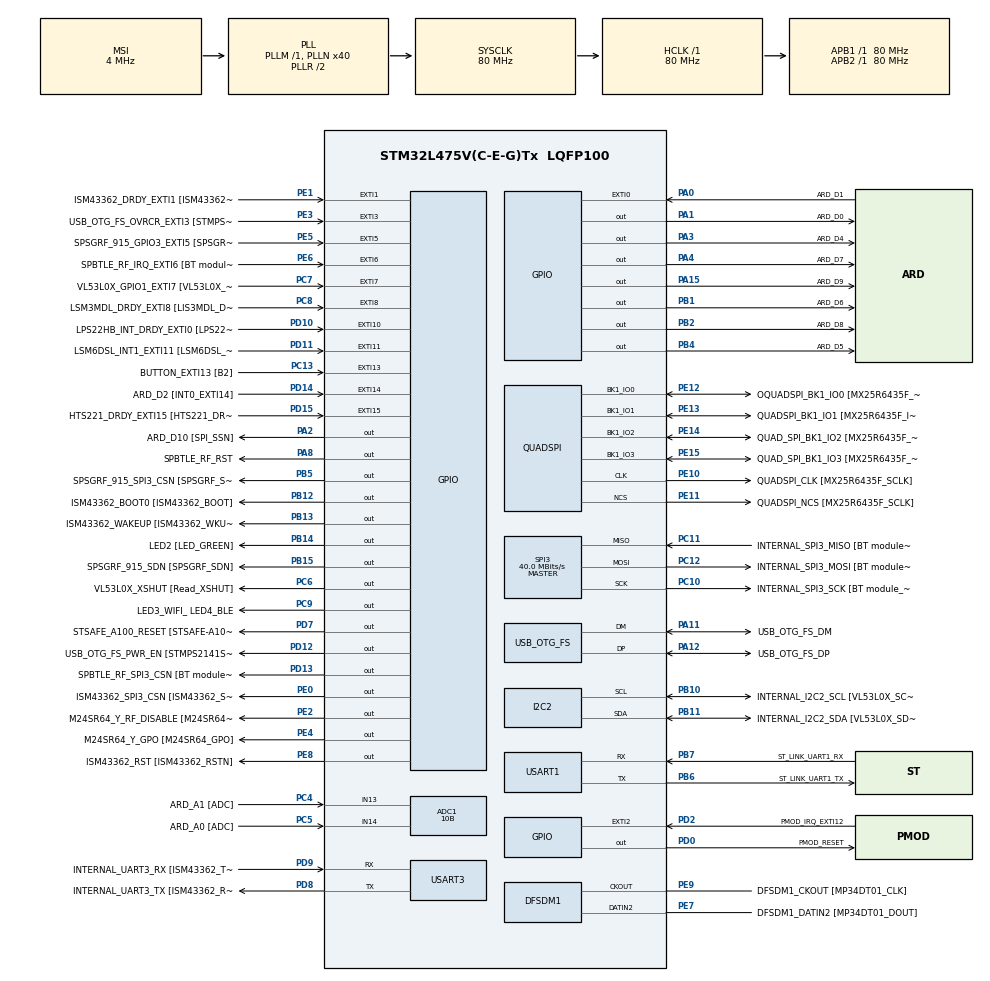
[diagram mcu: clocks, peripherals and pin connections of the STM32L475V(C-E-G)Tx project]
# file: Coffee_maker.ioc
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ADC1.Channel-0\#ChannelRegularConversion=ADC_CHANNEL_14
ADC1.Channel-1\#ChannelRegularConversion=ADC_CHANNEL_13
ADC1.ContinuousConvMode=ENABLE
ADC1.NbrOfConversion=2
ADC1.NbrOfConversionFlag=1
ADC1.OffsetNumber-0\#ChannelRegularConversion=ADC_OFFSET_NONE
ADC1.OffsetNumber-1\#ChannelRegularConversion=ADC_OFFSET_NONE
ADC1.Rank-0\#ChannelRegularConversion=1
ADC1.Rank-1\#ChannelRegularConversion=2
ADC1.Resolution=ADC_RESOLUTION_10B
ADC1.SamplingTime-0\#ChannelRegularConversion=ADC_SAMPLETIME_640CYCLES_5
ADC1.SamplingTime-1\#ChannelRegularConversion=ADC_SAMPLETIME_640CYCLES_5
ADC1.master=1
Mcu.Family=STM32L4
Mcu.Name=STM32L475V(C-E-G)Tx
Mcu.Package=LQFP100
NVIC.EXTI15_10_IRQn=true\:0\:0\:false\:false\:true\:true\:true
NVIC.EXTI9_5_IRQn=true\:0\:0\:false\:false\:true\:true\:true
NVIC.PriorityGroup=NVIC_PRIORITYGROUP_4
PA0.GPIO_Label=ARD_D1
PA0.Signal=GPXTI0
PA1.GPIO_Label=ARD_D0
PA1.Signal=GPIO_Output
PA10.GPIO_Label=USB_OTG_FS_ID
PA10.Signal=USB_OTG_FS_ID
PA11.GPIO_Label=USB_OTG_FS_DM
PA11.Mode=Device_Only
PA11.Signal=USB_OTG_FS_DM
PA12.GPIO_Label=USB_OTG_FS_DP
PA12.Mode=Device_Only
PA12.Signal=USB_OTG_FS_DP
PA13\ (JTMS-SWDIO).GPIO_Label=SYS_JTMS_SWDIO
PA13\ (JTMS-SWDIO).Mode=Serial_Wire
PA13\ (JTMS-SWDIO).Signal=SYS_JTMS-SWDIO
PA14\ (JTCK-SWCLK).GPIO_Label=SYS_JTCK_SWCLK
PA14\ (JTCK-SWCLK).Mode=Serial_Wire
PA14\ (JTCK-SWCLK).Signal=SYS_JTCK-SWCLK
PA15\ (JTDI).GPIO_Label=ARD_D9
PA15\ (JTDI).Signal=GPIO_Output
PA2.GPIO_Label=ARD_D10 [SPI_SSN]
PA2.Signal=GPIO_Output
PA3.GPIO_Label=ARD_D4
PA3.Signal=GPIO_Output
PA4.GPIO_Label=ARD_D7
PA4.Signal=GPIO_Output
PA5.GPIO_Label=ARD_D13 [SPI1_SCK]
PA5.Signal=SPI1_SCK
PA6.GPIO_Label=ARD_D12 [SPI1_MISO]
PA6.Signal=SPI1_MISO
PA7.GPIO_Label=ARD_D11 [SPI1_MOSI]
PA7.Signal=SPI1_MOSI
PA8.GPIO_Label=SPBTLE_RF_RST
PA8.Signal=GPIO_Output
PA9.GPIO_Label=USB_OTG_FS_VBUS [STMPS2141STR_OUT]
PA9.Signal=USB_OTG_FS_VBUS
PB1.GPIO_Label=ARD_D6
PB1.Signal=GPIO_Output
PB10.GPIO_Label=INTERNAL_I2C2_SCL [VL53L0X_SCL]
PB10.Mode=I2C
PB10.Signal=I2C2_SCL
PB11.GPIO_Label=INTERNAL_I2C2_SDA [VL53L0X_SDA]
PB11.Mode=I2C
PB11.Signal=I2C2_SDA
PB12.GPIO_Label=ISM43362_BOOT0 [ISM43362_BOOT]
PB12.Signal=GPIO_Output
PB13.GPIO_Label=ISM43362_WAKEUP [ISM43362_WKUP]
PB13.Signal=GPIO_Output
PB14.GPIO_Label=LED2 [LED_GREEN]
PB14.Signal=GPIO_Output
PB15.GPIO_Label=SPSGRF_915_SDN [SPSGRF_SDN]
PB15.Signal=GPIO_Output
PB2.GPIO_Label=ARD_D8
PB2.Signal=GPIO_Output
PB3\ (JTDO-TRACESWO).GPIO_Label=SYS_JTD0_SWO
PB3\ (JTDO-TRACESWO).Signal=SYS_JTDO-SWO
PB4\ (NJTRST).GPIO_Label=ARD_D5
PB4\ (NJTRST).Signal=GPIO_Output
PB5.GPIO_Label=SPSGRF_915_SPI3_CSN [SPSGRF_SPI_CS]
PB5.PinState=GPIO_PIN_SET
PB5.Signal=GPIO_Output
PB6.GPIO_Label=ST_LINK_UART1_TX
PB6.Mode=Asynchronous
PB6.Signal=USART1_TX
PB7.GPIO_Label=ST_LINK_UART1_RX
PB7.Mode=Asynchronous
PB7.Signal=USART1_RX
PB8.GPIO_Label=ARD_D15 [I2C1_SCL]
PB8.Signal=I2C1_SCL
PB9.GPIO_Label=ARD_D14 [I2C1_SDA]
PB9.Signal=I2C1_SDA
PC0.GPIO_Label=ARD_A5 [ADC]
PC0.Signal=ADCx_IN1
PC1.GPIO_Label=ARD_A4 [ADC]
PC1.Signal=ADCx_IN2
PC10.GPIO_Label=INTERNAL_SPI3_SCK [BT module_SPI_SCLK] [ISM43362_SCK]
PC10.Mode=Full_Duplex_Master
PC10.Signal=SPI3_SCK
PC11.GPIO_Label=INTERNAL_SPI3_MISO [BT module_SPI_MISO] [ISM43362_MISO]
PC11.Mode=Full_Duplex_Master
PC11.Signal=SPI3_MISO
PC12.GPIO_Label=INTERNAL_SPI3_MOSI [BT module_SPI_MOSI] [ISM43362_MOSI]
PC12.Mode=Full_Duplex_Master
PC12.Signal=SPI3_MOSI
PC13.GPIO_Label=BUTTON_EXTI13 [B2]
PC13.GPIO_ModeDefaultEXTI=GPIO_MODE_IT_FALLING
PC13.Signal=GPXTI13
PC14-OSC32_IN\ (PC14).Mode=LSE-External-Oscillator
PC14-OSC32_IN\ (PC14).Signal=RCC_OSC32_IN
PC15-OSC32_OUT\ (PC15).Mode=LSE-External-Oscillator
PC15-OSC32_OUT\ (PC15).Signal=RCC_OSC32_OUT
PC2.GPIO_Label=ARD_A3 [ADC]
PC2.Signal=ADCx_IN3
PC3.GPIO_Label=ARD_A2 [ADC]
PC3.Signal=ADCx_IN4
PC4.GPIO_Label=ARD_A1 [ADC]
PC4.Signal=ADCx_IN13
PC5.GPIO_Label=ARD_A0 [ADC]
PC5.Signal=ADCx_IN14
PC6.GPIO_Label=VL53L0X_XSHUT [Read_XSHUT]
PC6.Signal=GPIO_Output
PC7.GPIO_Label=VL53L0X_GPIO1_EXTI7 [VL53L0X_GPIO1]
PC7.Signal=GPXTI7
PC8.GPIO_Label=LSM3MDL_DRDY_EXTI8 [LIS3MDL_DRDY]
PC8.Signal=GPXTI8
PC9.GPIO_Label=LED3_WIFI_ LED4_BLE
PC9.Signal=GPIO_Output
PD0.GPIO_Label=PMOD_RESET
PD0.Signal=GPIO_Output
PD1.GPIO_Label=PMOD_SPI2_SCK
PD1.Signal=SPI2_SCK
PD10.GPIO_Label=LPS22HB_INT_DRDY_EXTI0 [LPS22HB_INT_DRDY] 
PD10.Signal=GPXTI10
PD11.GPIO_Label=LSM6DSL_INT1_EXTI11 [LSM6DSL_INT1]
PD11.Signal=GPXTI11
PD12.GPIO_Label=USB_OTG_FS_PWR_EN [STMPS2141STR_EN]
PD12.Signal=GPIO_Output
PD13.GPIO_Label=SPBTLE_RF_SPI3_CSN [BT module_SPI_CS]
PD13.PinState=GPIO_PIN_SET
PD13.Signal=GPIO_Output
PD14.GPIO_Label=ARD_D2 [INT0_EXTI14]
PD14.Signal=GPXTI14
PD15.GPIO_Label=HTS221_DRDY_EXTI15 [HTS221_DRDY]
PD15.Signal=GPXTI15
PD2.GPIO_Label=PMOD_IRQ_EXTI12
PD2.Signal=GPXTI2
PD3.GPIO_Label=PMOD_UART2_CTS
PD3.Signal=USART2_CTS
PD4.GPIO_Label=PMOD_UART2_RTS
PD4.Signal=USART2_RTS
PD5.GPIO_Label=PMOD_UART2_TX
PD5.Signal=USART2_TX
PD6.GPIO_Label=PMOD_UART2_RX
PD6.Signal=USART2_RX
PD7.GPIO_Label=STSAFE_A100_RESET [STSAFE-A100_RESET]
PD7.Signal=GPIO_Output
PD8.GPIO_Label=INTERNAL_UART3_TX [ISM43362_RX]
PD8.Mode=Asynchronous
PD8.Signal=USART3_TX
PD9.GPIO_Label=INTERNAL_UART3_RX [ISM43362_TX]
PD9.Mode=Asynchronous
PD9.Signal=USART3_RX
PE0.GPIO_Label=ISM43362_SPI3_CSN [ISM43362_SSN]
PE0.PinState=GPIO_PIN_SET
PE0.Signal=GPIO_Output
PE1.GPIO_Label=ISM43362_DRDY_EXTI1 [ISM43362_DATARDY]
PE1.Signal=GPXTI1
PE10.GPIO_Label=QUADSPI_CLK [MX25R6435F_SCLK]
PE10.Mode=Single Bank
PE10.Signal=QUADSPI_CLK
PE11.GPIO_Label=QUADSPI_NCS [MX25R6435F_SCLK]
PE11.Mode=Single Bank
PE11.Signal=QUADSPI_NCS
PE12.GPIO_Label=OQUADSPI_BK1_IO0 [MX25R6435F_IO0]
PE12.Mode=Single Bank
PE12.Signal=QUADSPI_BK1_IO0
PE13.GPIO_Label=QUADSPI_BK1_IO1 [MX25R6435F_IO1]
PE13.Mode=Single Bank
PE13.Signal=QUADSPI_BK1_IO1
PE14.GPIO_Label=QUAD_SPI_BK1_IO2 [MX25R6435F_IO2]
PE14.Mode=Single Bank
PE14.Signal=QUADSPI_BK1_IO2
PE15.GPIO_Label=QUAD_SPI_BK1_IO3 [MX25R6435F_IO3]
PE15.Mode=Single Bank
PE15.Signal=QUADSPI_BK1_IO3
PE2.GPIO_Label=M24SR64_Y_RF_DISABLE [M24SR64_RFDIS]
PE2.Signal=GPIO_Output
PE3.GPIO_Label=USB_OTG_FS_OVRCR_EXTI3 [STMPS2141STR_FAULT]
PE3.Signal=GPXTI3
PE4.GPIO_Label=M24SR64_Y_GPO [M24SR64_GPO]
PE4.Signal=GPIO_Output
PE5.GPIO_Label=SPSGRF_915_GPIO3_EXTI5 [SPSGRF_GPIO_3]
PE5.Signal=GPXTI5
PE6.GPIO_Label=SPBTLE_RF_IRQ_EXTI6 [BT module_SPI_IRQ]
PE6.Signal=GPXTI6
PE7.GPIO_Label=DFSDM1_DATIN2 [MP34DT01_DOUT]
PE7.Signal=S_DATAIN2DFSDM1
PE8.GPIO_Label=ISM43362_RST [ISM43362_RSTN]
PE8.Signal=GPIO_Output
PE9.GPIO_Label=DFSDM1_CKOUT [MP34DT01_CLK]
PE9.Signal=S_CKOUTDFSDM1
ProjectManager.HeapSize=0x200
ProjectManager.StackSize=0x400
ProjectManager.TargetToolchain=STM32CubeIDE
RCC.ADCFreq_Value=48000000
RCC.AHBFreq_Value=80000000
RCC.APB1Freq_Value=80000000
RCC.APB1TimFreq_Value=80000000
RCC.APB2Freq_Value=80000000
RCC.APB2TimFreq_Value=80000000
RCC.CortexFreq_Value=80000000
RCC.HCLKFreq_Value=80000000
RCC.HSE_VALUE=8000000
RCC.HSI_VALUE=16000000
RCC.MSI_VALUE=4000000
RCC.PLLN=40
RCC.PLLSAI1N=24
RCC.SYSCLKFreq_VALUE=80000000
RCC.SYSCLKSource=RCC_SYSCLKSOURCE_PLLCLK
RCC.USBFreq_Value=48000000
RCC.VCOOutputFreq_Value=160000000
SH.ADCx_IN1.0=ADC1_IN1
SH.ADCx_IN13.0=ADC2_IN13
SH.ADCx_IN13.1=ADC1_IN13,IN13-Single-Ended
SH.ADCx_IN14.0=ADC1_IN14,IN14-Single-Ended
SH.ADCx_IN2.0=ADC1_IN2
SH.ADCx_IN3.0=ADC1_IN3
SH.ADCx_IN4.0=ADC1_IN4
SH.S_CKOUTDFSDM1.0=DFSDM1_CKOUT,CKOUT
SH.S_CKOUTDFSDM1.1=DFSDM1_CKOUT,PDM_SPI_Input_from_ch12_and_Internal_Clock
SH.S_DATAIN2DFSDM1.0=DFSDM1_DATIN2,PDM_SPI_Input_from_ch12_and_Internal_Clock
SPI3.CalculateBaudRate=40.0 MBits/s
SPI3.Direction=SPI_DIRECTION_2LINES
SPI3.Mode=SPI_MODE_MASTER
SPI3.VirtualType=VM_MASTER
USART1.VirtualMode-Asynchronous=VM_ASYNC
USART3.VirtualMode-Asynchronous=VM_ASYNC
USB_OTG_FS.VirtualMode=Device_Only
board=B-L475E-IOT01A1

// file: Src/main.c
/* USER CODE BEGIN Header */
/**
  ******************************************************************************
  * @file           : main.c
  * @brief          : Main program body
  ******************************************************************************
  * @attention
  *
  * <h2><center>&copy; Copyright (c) 2020 STMicroelectronics.
  * All rights reserved.</center></h2>
  *
  * This software component is licensed by ST under BSD 3-Clause license,
  * the "License"; You may not use this file except in compliance with the
  * License. You may obtain a copy of the License at:
  *                        opensource.org/licenses/BSD-3-Clause
  *
  ******************************************************************************
  */
/* USER CODE END Header */

#include "main.h"

/* USER CODE BEGIN Includes */
#include "string.h"
#include "stdio.h"
#include "stdlib.h"
#include "stm32l475e_iot01_tsensor.h"
/* USER CODE END Includes */

ADC_HandleTypeDef hadc1;

DFSDM_Channel_HandleTypeDef hdfsdm1_channel1;

I2C_HandleTypeDef hi2c2;

QSPI_HandleTypeDef hqspi;

SPI_HandleTypeDef hspi3;

UART_HandleTypeDef huart1;
UART_HandleTypeDef huart3;

PCD_HandleTypeDef hpcd_USB_OTG_FS;

void SystemClock_Config(void);
static void MX_GPIO_Init(void);
static void MX_DFSDM1_Init(void);
static void MX_I2C2_Init(void);
static void MX_QUADSPI_Init(void);
static void MX_SPI3_Init(void);
static void MX_USART1_UART_Init(void);
static void MX_USART3_UART_Init(void);
static void MX_USB_OTG_FS_PCD_Init(void);
static void MX_ADC1_Init(void);

/* USER CODE BEGIN 0 */

uint32_t adcResult1, adcResult2;
HAL_StatusTypeDef halResult1;
char firstRow[30];
char secondRow[30];
int power, addWater, strongBrew, cupSize = 0;
int autoOff = 1;
int autoOffcntr, addWatercntr = 0;

/* USER CODE END 0 */

int main(void)
{

  /* MCU Configuration--------------------------------------------------------*/

  /* Reset of all peripherals, Initializes the Flash interface and the Systick. */
  HAL_Init();

  /* Configure the system clock */
  SystemClock_Config();

  /* Initialize all configured peripherals */
  MX_GPIO_Init();
  MX_DFSDM1_Init();
  MX_I2C2_Init();
  MX_QUADSPI_Init();
  MX_SPI3_Init();
  MX_USART1_UART_Init();
  MX_USART3_UART_Init();
  MX_USB_OTG_FS_PCD_Init();
  MX_ADC1_Init();

  /* Infinite loop */
  /* USER CODE BEGIN WHILE */
  BSP_TSENSOR_Init();

  while (1)
  {
	  printf("\e[1;1H\e[2J");							//Clear Screen

	  //Power on/off
	  if((HAL_GPIO_ReadPin(BUTTON_EXTI13_GPIO_Port, BUTTON_EXTI13_Pin) == 0) & (power == 0))  powerOn();
	  else if((HAL_GPIO_ReadPin(BUTTON_EXTI13_GPIO_Port, BUTTON_EXTI13_Pin) == 0) & (power != 0)) powerOff();

	  // 1 min AutoOff function
	  if(autoOffcntr == 600)
	  {
		  powerOff();
	  }

	  if(power)
	  {
		  HAL_ADC_Start(&hadc1);
		  //read Buttons
		  halResult1 = HAL_ADC_PollForConversion(&hadc1, 100);
		  adcResult1 = HAL_ADC_GetValue(&hadc1);
		  //read water level sensor
		  halResult1 = HAL_ADC_PollForConversion(&hadc1, 100);
		  adcResult2 = HAL_ADC_GetValue(&hadc1);
		  HAL_ADC_Stop(&hadc1);

		  // Strong brew Button
		  if((adcResult1 > 100) & (adcResult1 <= 200))
		  {
			  HAL_GPIO_TogglePin(ARD_D6_GPIO_Port, ARD_D6_Pin);
			  strongBrew = 1;
			  autoOffcntr = 0;
			  HAL_Delay(200);
		  }

		  //Cups Buttons
		  if((adcResult1 > 200) & (adcResult1 <= 350))
		  {
			  HAL_GPIO_WritePin(ARD_D9_GPIO_Port, ARD_D7_Pin, GPIO_PIN_SET);
			  HAL_GPIO_WritePin(ARD_D8_GPIO_Port, ARD_D8_Pin, GPIO_PIN_RESET);
			  HAL_GPIO_WritePin(ARD_D9_GPIO_Port, ARD_D9_Pin, GPIO_PIN_RESET);
			  HAL_GPIO_WritePin(ARD_D10_GPIO_Port, ARD_D10_Pin, GPIO_PIN_RESET);
			  autoOffcntr = 0;
			  if(addWater) addWaterf();
			  else cupSize = 12;
		  }
		  else if((adcResult1 > 350) & (adcResult1 <= 550))
		  {
			  HAL_GPIO_WritePin(ARD_D9_GPIO_Port, ARD_D7_Pin, GPIO_PIN_RESET);
			  HAL_GPIO_WritePin(ARD_D8_GPIO_Port, ARD_D8_Pin, GPIO_PIN_SET);
			  HAL_GPIO_WritePin(ARD_D9_GPIO_Port, ARD_D9_Pin, GPIO_PIN_RESET);
			  HAL_GPIO_WritePin(ARD_D10_GPIO_Port, ARD_D10_Pin, GPIO_PIN_RESET);
			  autoOffcntr = 0;
			  if(addWater) addWaterf();
			  else cupSize = 10;
		  }
		  else if((adcResult1 > 550) & (adcResult1 <= 695))
		  {
			  HAL_GPIO_WritePin(ARD_D9_GPIO_Port, ARD_D7_Pin, GPIO_PIN_RESET);
			  HAL_GPIO_WritePin(ARD_D8_GPIO_Port, ARD_D8_Pin, GPIO_PIN_RESET);
			  HAL_GPIO_WritePin(ARD_D9_GPIO_Port, ARD_D9_Pin, GPIO_PIN_SET);
			  HAL_GPIO_WritePin(ARD_D10_GPIO_Port, ARD_D10_Pin, GPIO_PIN_RESET);
			  autoOffcntr = 0;
			  if(addWater) addWaterf();
			  else cupSize = 8;
		  }
		  else if(adcResult1 > 695)
		  {
			  HAL_GPIO_WritePin(ARD_D9_GPIO_Port, ARD_D7_Pin, GPIO_PIN_RESET);
			  HAL_GPIO_WritePin(ARD_D8_GPIO_Port, ARD_D8_Pin, GPIO_PIN_RESET);
			  HAL_GPIO_WritePin(ARD_D9_GPIO_Port, ARD_D9_Pin, GPIO_PIN_RESET);
			  HAL_GPIO_WritePin(ARD_D10_GPIO_Port, ARD_D10_Pin, GPIO_PIN_SET);
			  autoOffcntr = 0;
			  if(addWater) addWaterf();
			  else cupSize = 6;
		  }

		  //Water level sensor
		  if(adcResult2 < 700)
			  {
			  addWater = 1;
			  strcpy(firstRow, "\n\r  Water: □");
			  }
		  else if(adcResult2 < 800)
			  {
			  addWater = 0;
			  strcpy(firstRow, "\n\r  Water: ■");
			  }
		  else if(adcResult2 < 1000)
			  {
			  addWater = 0;
			  strcpy(firstRow, "\n\r  Water: ■■");
			  }
		  else
			  {
			  addWater = 0;
			  strcpy(firstRow, "\n\r  Water: ■■■");
			  }

		  // read temperature
		  temp2str();

		  // add water LED
		  if(addWater) HAL_GPIO_WritePin(ARD_D4_GPIO_Port, ARD_D4_Pin, GPIO_PIN_SET);
		  else HAL_GPIO_WritePin(ARD_D4_GPIO_Port, ARD_D4_Pin, GPIO_PIN_RESET);

		  // autoOff LED
		  if(autoOff) HAL_GPIO_WritePin(ARD_D5_GPIO_Port, ARD_D5_Pin, GPIO_PIN_SET);
		  else HAL_GPIO_WritePin(ARD_D5_GPIO_Port, ARD_D5_Pin, GPIO_PIN_RESET);

		  //simulation
		  if(cupSize > 0) brewing();

		  printf(firstRow);
		  printf(secondRow);

		  autoOffcntr++;
		  HAL_Delay(100);					// 0.1 sec delay
	  }
    /* USER CODE END WHILE */

  }
}

void SystemClock_Config(void)
{
  RCC_OscInitTypeDef RCC_OscInitStruct = {0};
  RCC_ClkInitTypeDef RCC_ClkInitStruct = {0};
  RCC_PeriphCLKInitTypeDef PeriphClkInit = {0};

  /** Configure LSE Drive Capability
  */
  HAL_PWR_EnableBkUpAccess();
  __HAL_RCC_LSEDRIVE_CONFIG(RCC_LSEDRIVE_LOW);
  /** Initializes the CPU, AHB and APB busses clocks
  */
  RCC_OscInitStruct.OscillatorType = RCC_OSCILLATORTYPE_LSE|RCC_OSCILLATORTYPE_MSI;
  RCC_OscInitStruct.LSEState = RCC_LSE_ON;
  RCC_OscInitStruct.MSIState = RCC_MSI_ON;
  RCC_OscInitStruct.MSICalibrationValue = 0;
  RCC_OscInitStruct.MSIClockRange = RCC_MSIRANGE_6;
  RCC_OscInitStruct.PLL.PLLState = RCC_PLL_ON;
  RCC_OscInitStruct.PLL.PLLSource = RCC_PLLSOURCE_MSI;
  RCC_OscInitStruct.PLL.PLLM = 1;
  RCC_OscInitStruct.PLL.PLLN = 40;
  RCC_OscInitStruct.PLL.PLLP = RCC_PLLP_DIV7;
  RCC_OscInitStruct.PLL.PLLQ = RCC_PLLQ_DIV2;
  RCC_OscInitStruct.PLL.PLLR = RCC_PLLR_DIV2;
  if (HAL_RCC_OscConfig(&RCC_OscInitStruct) != HAL_OK)
  {
    Error_Handler();
  }
  /** Initializes the CPU, AHB and APB busses clocks
  */
  RCC_ClkInitStruct.ClockType = RCC_CLOCKTYPE_HCLK|RCC_CLOCKTYPE_SYSCLK
                              |RCC_CLOCKTYPE_PCLK1|RCC_CLOCKTYPE_PCLK2;
  RCC_ClkInitStruct.SYSCLKSource = RCC_SYSCLKSOURCE_PLLCLK;
  RCC_ClkInitStruct.AHBCLKDivider = RCC_SYSCLK_DIV1;
  RCC_ClkInitStruct.APB1CLKDivider = RCC_HCLK_DIV1;
  RCC_ClkInitStruct.APB2CLKDivider = RCC_HCLK_DIV1;

  if (HAL_RCC_ClockConfig(&RCC_ClkInitStruct, FLASH_LATENCY_4) != HAL_OK)
  {
    Error_Handler();
  }
  PeriphClkInit.PeriphClockSelection = RCC_PERIPHCLK_USART1|RCC_PERIPHCLK_USART3
                              |RCC_PERIPHCLK_I2C2|RCC_PERIPHCLK_DFSDM1
                              |RCC_PERIPHCLK_USB|RCC_PERIPHCLK_ADC;
  PeriphClkInit.Usart1ClockSelection = RCC_USART1CLKSOURCE_PCLK2;
  PeriphClkInit.Usart3ClockSelection = RCC_USART3CLKSOURCE_PCLK1;
  PeriphClkInit.I2c2ClockSelection = RCC_I2C2CLKSOURCE_PCLK1;
  PeriphClkInit.AdcClockSelection = RCC_ADCCLKSOURCE_PLLSAI1;
  PeriphClkInit.Dfsdm1ClockSelection = RCC_DFSDM1CLKSOURCE_PCLK;
  PeriphClkInit.UsbClockSelection = RCC_USBCLKSOURCE_PLLSAI1;
  PeriphClkInit.PLLSAI1.PLLSAI1Source = RCC_PLLSOURCE_MSI;
  PeriphClkInit.PLLSAI1.PLLSAI1M = 1;
  PeriphClkInit.PLLSAI1.PLLSAI1N = 24;
  PeriphClkInit.PLLSAI1.PLLSAI1P = RCC_PLLP_DIV7;
  PeriphClkInit.PLLSAI1.PLLSAI1Q = RCC_PLLQ_DIV2;
  PeriphClkInit.PLLSAI1.PLLSAI1R = RCC_PLLR_DIV2;
  PeriphClkInit.PLLSAI1.PLLSAI1ClockOut = RCC_PLLSAI1_48M2CLK|RCC_PLLSAI1_ADC1CLK;
  if (HAL_RCCEx_PeriphCLKConfig(&PeriphClkInit) != HAL_OK)
  {
    Error_Handler();
  }
  /** Configure the main internal regulator output voltage
  */
  if (HAL_PWREx_ControlVoltageScaling(PWR_REGULATOR_VOLTAGE_SCALE1) != HAL_OK)
  {
    Error_Handler();
  }
  /** Enable MSI Auto calibration
  */
  HAL_RCCEx_EnableMSIPLLMode();
}

static void MX_ADC1_Init(void)
{

  ADC_MultiModeTypeDef multimode = {0};
  ADC_ChannelConfTypeDef sConfig = {0};

  /** Common config
  */
  hadc1.Instance = ADC1;
  hadc1.Init.ClockPrescaler = ADC_CLOCK_ASYNC_DIV1;
  hadc1.Init.Resolution = ADC_RESOLUTION_10B;
  hadc1.Init.DataAlign = ADC_DATAALIGN_RIGHT;
  hadc1.Init.ScanConvMode = ADC_SCAN_ENABLE;
  hadc1.Init.EOCSelection = ADC_EOC_SINGLE_CONV;
  hadc1.Init.LowPowerAutoWait = DISABLE;
  hadc1.Init.ContinuousConvMode = ENABLE;
  hadc1.Init.NbrOfConversion = 2;
  hadc1.Init.DiscontinuousConvMode = DISABLE;
  hadc1.Init.NbrOfDiscConversion = 1;
  hadc1.Init.ExternalTrigConv = ADC_SOFTWARE_START;
  hadc1.Init.ExternalTrigConvEdge = ADC_EXTERNALTRIGCONVEDGE_NONE;
  hadc1.Init.DMAContinuousRequests = DISABLE;
  hadc1.Init.Overrun = ADC_OVR_DATA_PRESERVED;
  hadc1.Init.OversamplingMode = DISABLE;
  if (HAL_ADC_Init(&hadc1) != HAL_OK)
  {
    Error_Handler();
  }
  /** Configure the ADC multi-mode
  */
  multimode.Mode = ADC_MODE_INDEPENDENT;
  if (HAL_ADCEx_MultiModeConfigChannel(&hadc1, &multimode) != HAL_OK)
  {
    Error_Handler();
  }
  /** Configure Regular Channel
  */
  sConfig.Channel = ADC_CHANNEL_14;
  sConfig.Rank = ADC_REGULAR_RANK_1;
  sConfig.SamplingTime = ADC_SAMPLETIME_640CYCLES_5;
  sConfig.SingleDiff = ADC_SINGLE_ENDED;
  sConfig.OffsetNumber = ADC_OFFSET_NONE;
  sConfig.Offset = 0;
  if (HAL_ADC_ConfigChannel(&hadc1, &sConfig) != HAL_OK)
  {
    Error_Handler();
  }
  /** Configure Regular Channel
  */
  sConfig.Channel = ADC_CHANNEL_13;
  sConfig.Rank = ADC_REGULAR_RANK_2;
  if (HAL_ADC_ConfigChannel(&hadc1, &sConfig) != HAL_OK)
  {
    Error_Handler();
  }

}

static void MX_DFSDM1_Init(void)
{

  hdfsdm1_channel1.Instance = DFSDM1_Channel1;
  hdfsdm1_channel1.Init.OutputClock.Activation = ENABLE;
  hdfsdm1_channel1.Init.OutputClock.Selection = DFSDM_CHANNEL_OUTPUT_CLOCK_SYSTEM;
  hdfsdm1_channel1.Init.OutputClock.Divider = 2;
  hdfsdm1_channel1.Init.Input.Multiplexer = DFSDM_CHANNEL_EXTERNAL_INPUTS;
  hdfsdm1_channel1.Init.Input.DataPacking = DFSDM_CHANNEL_STANDARD_MODE;
  hdfsdm1_channel1.Init.Input.Pins = DFSDM_CHANNEL_FOLLOWING_CHANNEL_PINS;
  hdfsdm1_channel1.Init.SerialInterface.Type = DFSDM_CHANNEL_SPI_RISING;
  hdfsdm1_channel1.Init.SerialInterface.SpiClock = DFSDM_CHANNEL_SPI_CLOCK_INTERNAL;
  hdfsdm1_channel1.Init.Awd.FilterOrder = DFSDM_CHANNEL_FASTSINC_ORDER;
  hdfsdm1_channel1.Init.Awd.Oversampling = 1;
  hdfsdm1_channel1.Init.Offset = 0;
  hdfsdm1_channel1.Init.RightBitShift = 0x00;
  if (HAL_DFSDM_ChannelInit(&hdfsdm1_channel1) != HAL_OK)
  {
    Error_Handler();
  }

}

static void MX_I2C2_Init(void)
{

  hi2c2.Instance = I2C2;
  hi2c2.Init.Timing = 0x00000E14;
  hi2c2.Init.OwnAddress1 = 0;
  hi2c2.Init.AddressingMode = I2C_ADDRESSINGMODE_7BIT;
  hi2c2.Init.DualAddressMode = I2C_DUALADDRESS_DISABLE;
  hi2c2.Init.OwnAddress2 = 0;
  hi2c2.Init.OwnAddress2Masks = I2C_OA2_NOMASK;
  hi2c2.Init.GeneralCallMode = I2C_GENERALCALL_DISABLE;
  hi2c2.Init.NoStretchMode = I2C_NOSTRETCH_DISABLE;
  if (HAL_I2C_Init(&hi2c2) != HAL_OK)
  {
    Error_Handler();
  }
  /** Configure Analogue filter
  */
  if (HAL_I2CEx_ConfigAnalogFilter(&hi2c2, I2C_ANALOGFILTER_ENABLE) != HAL_OK)
  {
    Error_Handler();
  }
  /** Configure Digital filter
  */
  if (HAL_I2CEx_ConfigDigitalFilter(&hi2c2, 0) != HAL_OK)
  {
    Error_Handler();
  }

}

static void MX_QUADSPI_Init(void)
{

  /* QUADSPI parameter configuration*/
  hqspi.Instance = QUADSPI;
  hqspi.Init.ClockPrescaler = 255;
  hqspi.Init.FifoThreshold = 1;
  hqspi.Init.SampleShifting = QSPI_SAMPLE_SHIFTING_NONE;
  hqspi.Init.FlashSize = 1;
  hqspi.Init.ChipSelectHighTime = QSPI_CS_HIGH_TIME_1_CYCLE;
  hqspi.Init.ClockMode = QSPI_CLOCK_MODE_0;
  if (HAL_QSPI_Init(&hqspi) != HAL_OK)
  {
    Error_Handler();
  }

}

static void MX_SPI3_Init(void)
{

  /* SPI3 parameter configuration*/
  hspi3.Instance = SPI3;
  hspi3.Init.Mode = SPI_MODE_MASTER;
  hspi3.Init.Direction = SPI_DIRECTION_2LINES;
  hspi3.Init.DataSize = SPI_DATASIZE_4BIT;
  hspi3.Init.CLKPolarity = SPI_POLARITY_LOW;
  hspi3.Init.CLKPhase = SPI_PHASE_1EDGE;
  hspi3.Init.NSS = SPI_NSS_SOFT;
  hspi3.Init.BaudRatePrescaler = SPI_BAUDRATEPRESCALER_2;
  hspi3.Init.FirstBit = SPI_FIRSTBIT_MSB;
  hspi3.Init.TIMode = SPI_TIMODE_DISABLE;
  hspi3.Init.CRCCalculation = SPI_CRCCALCULATION_DISABLE;
  hspi3.Init.CRCPolynomial = 7;
  hspi3.Init.CRCLength = SPI_CRC_LENGTH_DATASIZE;
  hspi3.Init.NSSPMode = SPI_NSS_PULSE_ENABLE;
  if (HAL_SPI_Init(&hspi3) != HAL_OK)
  {
    Error_Handler();
  }

}

static void MX_USART1_UART_Init(void)
{

  huart1.Instance = USART1;
  huart1.Init.BaudRate = 115200;
  huart1.Init.WordLength = UART_WORDLENGTH_8B;
  huart1.Init.StopBits = UART_STOPBITS_1;
  huart1.Init.Parity = UART_PARITY_NONE;
  huart1.Init.Mode = UART_MODE_TX_RX;
  huart1.Init.HwFlowCtl = UART_HWCONTROL_NONE;
  huart1.Init.OverSampling = UART_OVERSAMPLING_16;
  huart1.Init.OneBitSampling = UART_ONE_BIT_SAMPLE_DISABLE;
  huart1.AdvancedInit.AdvFeatureInit = UART_ADVFEATURE_NO_INIT;
  if (HAL_UART_Init(&huart1) != HAL_OK)
  {
    Error_Handler();
  }

}

static void MX_USART3_UART_Init(void)
{

  huart3.Instance = USART3;
  huart3.Init.BaudRate = 115200;
  huart3.Init.WordLength = UART_WORDLENGTH_8B;
  huart3.Init.StopBits = UART_STOPBITS_1;
  huart3.Init.Parity = UART_PARITY_NONE;
  huart3.Init.Mode = UART_MODE_TX_RX;
  huart3.Init.HwFlowCtl = UART_HWCONTROL_NONE;
  huart3.Init.OverSampling = UART_OVERSAMPLING_16;
  huart3.Init.OneBitSampling = UART_ONE_BIT_SAMPLE_DISABLE;
  huart3.AdvancedInit.AdvFeatureInit = UART_ADVFEATURE_NO_INIT;
  if (HAL_UART_Init(&huart3) != HAL_OK)
  {
    Error_Handler();
  }

}

static void MX_USB_OTG_FS_PCD_Init(void)
{

  hpcd_USB_OTG_FS.Instance = USB_OTG_FS;
  hpcd_USB_OTG_FS.Init.dev_endpoints = 6;
  hpcd_USB_OTG_FS.Init.speed = PCD_SPEED_FULL;
  hpcd_USB_OTG_FS.Init.phy_itface = PCD_PHY_EMBEDDED;
  hpcd_USB_OTG_FS.Init.Sof_enable = DISABLE;
  hpcd_USB_OTG_FS.Init.low_power_enable = DISABLE;
  hpcd_USB_OTG_FS.Init.lpm_enable = DISABLE;
  hpcd_USB_OTG_FS.Init.battery_charging_enable = DISABLE;
  hpcd_USB_OTG_FS.Init.use_dedicated_ep1 = DISABLE;
  hpcd_USB_OTG_FS.Init.vbus_sensing_enable = DISABLE;
  if (HAL_PCD_Init(&hpcd_USB_OTG_FS) != HAL_OK)
  {
    Error_Handler();
  }

}

static void MX_GPIO_Init(void)
{
  GPIO_InitTypeDef GPIO_InitStruct = {0};

  /* GPIO Ports Clock Enable */
  __HAL_RCC_GPIOE_CLK_ENABLE();
  __HAL_RCC_GPIOC_CLK_ENABLE();
  __HAL_RCC_GPIOA_CLK_ENABLE();
  __HAL_RCC_GPIOB_CLK_ENABLE();
  __HAL_RCC_GPIOD_CLK_ENABLE();

  /*Configure GPIO pin Output Level */
  HAL_GPIO_WritePin(GPIOE, M24SR64_Y_RF_DISABLE_Pin|M24SR64_Y_GPO_Pin|ISM43362_RST_Pin, GPIO_PIN_RESET);

  /*Configure GPIO pin Output Level */
  HAL_GPIO_WritePin(GPIOA, ARD_D0_Pin|ARD_D10_Pin|ARD_D4_Pin|ARD_D7_Pin
                          |SPBTLE_RF_RST_Pin|ARD_D9_Pin, GPIO_PIN_RESET);

  /*Configure GPIO pin Output Level */
  HAL_GPIO_WritePin(GPIOB, ARD_D6_Pin|ARD_D8_Pin|ISM43362_BOOT0_Pin|ISM43362_WAKEUP_Pin
                          |LED2_Pin|SPSGRF_915_SDN_Pin|ARD_D5_Pin, GPIO_PIN_RESET);

  /*Configure GPIO pin Output Level */
  HAL_GPIO_WritePin(GPIOD, USB_OTG_FS_PWR_EN_Pin|PMOD_RESET_Pin|STSAFE_A100_RESET_Pin, GPIO_PIN_RESET);

  /*Configure GPIO pin Output Level */
  HAL_GPIO_WritePin(SPBTLE_RF_SPI3_CSN_GPIO_Port, SPBTLE_RF_SPI3_CSN_Pin, GPIO_PIN_SET);

  /*Configure GPIO pin Output Level */
  HAL_GPIO_WritePin(GPIOC, VL53L0X_XSHUT_Pin|LED3_WIFI__LED4_BLE_Pin, GPIO_PIN_RESET);

  /*Configure GPIO pin Output Level */
  HAL_GPIO_WritePin(SPSGRF_915_SPI3_CSN_GPIO_Port, SPSGRF_915_SPI3_CSN_Pin, GPIO_PIN_SET);

  /*Configure GPIO pin Output Level */
  HAL_GPIO_WritePin(ISM43362_SPI3_CSN_GPIO_Port, ISM43362_SPI3_CSN_Pin, GPIO_PIN_SET);

  /*Configure GPIO pins : M24SR64_Y_RF_DISABLE_Pin M24SR64_Y_GPO_Pin ISM43362_RST_Pin ISM43362_SPI3_CSN_Pin */
  GPIO_InitStruct.Pin = M24SR64_Y_RF_DISABLE_Pin|M24SR64_Y_GPO_Pin|ISM43362_RST_Pin|ISM43362_SPI3_CSN_Pin;
  GPIO_InitStruct.Mode = GPIO_MODE_OUTPUT_PP;
  GPIO_InitStruct.Pull = GPIO_NOPULL;
  GPIO_InitStruct.Speed = GPIO_SPEED_FREQ_LOW;
  HAL_GPIO_Init(GPIOE, &GPIO_InitStruct);

  /*Configure GPIO pins : USB_OTG_FS_OVRCR_EXTI3_Pin SPSGRF_915_GPIO3_EXTI5_Pin SPBTLE_RF_IRQ_EXTI6_Pin ISM43362_DRDY_EXTI1_Pin */
  GPIO_InitStruct.Pin = USB_OTG_FS_OVRCR_EXTI3_Pin|SPSGRF_915_GPIO3_EXTI5_Pin|SPBTLE_RF_IRQ_EXTI6_Pin|ISM43362_DRDY_EXTI1_Pin;
  GPIO_InitStruct.Mode = GPIO_MODE_IT_RISING;
  GPIO_InitStruct.Pull = GPIO_NOPULL;
  HAL_GPIO_Init(GPIOE, &GPIO_InitStruct);

  /*Configure GPIO pin : BUTTON_EXTI13_Pin */
  GPIO_InitStruct.Pin = BUTTON_EXTI13_Pin;
  GPIO_InitStruct.Mode = GPIO_MODE_IT_FALLING;
  GPIO_InitStruct.Pull = GPIO_NOPULL;
  HAL_GPIO_Init(BUTTON_EXTI13_GPIO_Port, &GPIO_InitStruct);

  /*Configure GPIO pin : ARD_D1_Pin */
  GPIO_InitStruct.Pin = ARD_D1_Pin;
  GPIO_InitStruct.Mode = GPIO_MODE_IT_RISING;
  GPIO_InitStruct.Pull = GPIO_NOPULL;
  HAL_GPIO_Init(ARD_D1_GPIO_Port, &GPIO_InitStruct);

  /*Configure GPIO pins : ARD_D0_Pin ARD_D10_Pin ARD_D4_Pin ARD_D7_Pin
                           SPBTLE_RF_RST_Pin ARD_D9_Pin */
  GPIO_InitStruct.Pin = ARD_D0_Pin|ARD_D10_Pin|ARD_D4_Pin|ARD_D7_Pin
                          |SPBTLE_RF_RST_Pin|ARD_D9_Pin;
  GPIO_InitStruct.Mode = GPIO_MODE_OUTPUT_PP;
  GPIO_InitStruct.Pull = GPIO_NOPULL;
  GPIO_InitStruct.Speed = GPIO_SPEED_FREQ_LOW;
  HAL_GPIO_Init(GPIOA, &GPIO_InitStruct);

  /*Configure GPIO pins : ARD_D13_Pin ARD_D12_Pin ARD_D11_Pin */
  GPIO_InitStruct.Pin = ARD_D13_Pin|ARD_D12_Pin|ARD_D11_Pin;
  GPIO_InitStruct.Mode = GPIO_MODE_AF_PP;
  GPIO_InitStruct.Pull = GPIO_NOPULL;
  GPIO_InitStruct.Speed = GPIO_SPEED_FREQ_VERY_HIGH;
  GPIO_InitStruct.Alternate = GPIO_AF5_SPI1;
  HAL_GPIO_Init(GPIOA, &GPIO_InitStruct);

  /*Configure GPIO pin : ARD_A1_Pin */
  GPIO_InitStruct.Pin = ARD_A1_Pin;
  GPIO_InitStruct.Mode = GPIO_MODE_ANALOG_ADC_CONTROL;
  GPIO_InitStruct.Pull = GPIO_NOPULL;
  HAL_GPIO_Init(ARD_A1_GPIO_Port, &GPIO_InitStruct);

  /*Configure GPIO pins : ARD_D6_Pin ARD_D8_Pin ISM43362_BOOT0_Pin ISM43362_WAKEUP_Pin
                           LED2_Pin SPSGRF_915_SDN_Pin ARD_D5_Pin SPSGRF_915_SPI3_CSN_Pin */
  GPIO_InitStruct.Pin = ARD_D6_Pin|ARD_D8_Pin|ISM43362_BOOT0_Pin|ISM43362_WAKEUP_Pin
                          |LED2_Pin|SPSGRF_915_SDN_Pin|ARD_D5_Pin|SPSGRF_915_SPI3_CSN_Pin;
  GPIO_InitStruct.Mode = GPIO_MODE_OUTPUT_PP;
  GPIO_InitStruct.Pull = GPIO_NOPULL;
  GPIO_InitStruct.Speed = GPIO_SPEED_FREQ_LOW;
  HAL_GPIO_Init(GPIOB, &GPIO_InitStruct);

  /*Configure GPIO pins : LPS22HB_INT_DRDY_EXTI0_Pin LSM6DSL_INT1_EXTI11_Pin ARD_D2_Pin HTS221_DRDY_EXTI15_Pin
                           PMOD_IRQ_EXTI12_Pin */
  GPIO_InitStruct.Pin = LPS22HB_INT_DRDY_EXTI0_Pin|LSM6DSL_INT1_EXTI11_Pin|ARD_D2_Pin|HTS221_DRDY_EXTI15_Pin
                          |PMOD_IRQ_EXTI12_Pin;
  GPIO_InitStruct.Mode = GPIO_MODE_IT_RISING;
  GPIO_InitStruct.Pull = GPIO_NOPULL;
  HAL_GPIO_Init(GPIOD, &GPIO_InitStruct);

  /*Configure GPIO pins : USB_OTG_FS_PWR_EN_Pin SPBTLE_RF_SPI3_CSN_Pin PMOD_RESET_Pin STSAFE_A100_RESET_Pin */
  GPIO_InitStruct.Pin = USB_OTG_FS_PWR_EN_Pin|SPBTLE_RF_SPI3_CSN_Pin|PMOD_RESET_Pin|STSAFE_A100_RESET_Pin;
  GPIO_InitStruct.Mode = GPIO_MODE_OUTPUT_PP;
  GPIO_InitStruct.Pull = GPIO_NOPULL;
  GPIO_InitStruct.Speed = GPIO_SPEED_FREQ_LOW;
  HAL_GPIO_Init(GPIOD, &GPIO_InitStruct);

  /*Configure GPIO pins : VL53L0X_XSHUT_Pin LED3_WIFI__LED4_BLE_Pin */
  GPIO_InitStruct.Pin = VL53L0X_XSHUT_Pin|LED3_WIFI__LED4_BLE_Pin;
  GPIO_InitStruct.Mode = GPIO_MODE_OUTPUT_PP;
  GPIO_InitStruct.Pull = GPIO_NOPULL;
  GPIO_InitStruct.Speed = GPIO_SPEED_FREQ_LOW;
  HAL_GPIO_Init(GPIOC, &GPIO_InitStruct);

  /*Configure GPIO pins : VL53L0X_GPIO1_EXTI7_Pin LSM3MDL_DRDY_EXTI8_Pin */
  GPIO_InitStruct.Pin = VL53L0X_GPIO1_EXTI7_Pin|LSM3MDL_DRDY_EXTI8_Pin;
  GPIO_InitStruct.Mode = GPIO_MODE_IT_RISING;
  GPIO_InitStruct.Pull = GPIO_NOPULL;
  HAL_GPIO_Init(GPIOC, &GPIO_InitStruct);

  /*Configure GPIO pin : PMOD_SPI2_SCK_Pin */
  GPIO_InitStruct.Pin = PMOD_SPI2_SCK_Pin;
  GPIO_InitStruct.Mode = GPIO_MODE_AF_PP;
  GPIO_InitStruct.Pull = GPIO_NOPULL;
  GPIO_InitStruct.Speed = GPIO_SPEED_FREQ_VERY_HIGH;
  GPIO_InitStruct.Alternate = GPIO_AF5_SPI2;
  HAL_GPIO_Init(PMOD_SPI2_SCK_GPIO_Port, &GPIO_InitStruct);

  /*Configure GPIO pins : PMOD_UART2_CTS_Pin PMOD_UART2_RTS_Pin PMOD_UART2_TX_Pin PMOD_UART2_RX_Pin */
  GPIO_InitStruct.Pin = PMOD_UART2_CTS_Pin|PMOD_UART2_RTS_Pin|PMOD_UART2_TX_Pin|PMOD_UART2_RX_Pin;
  GPIO_InitStruct.Mode = GPIO_MODE_AF_PP;
  GPIO_InitStruct.Pull = GPIO_NOPULL;
  GPIO_InitStruct.Speed = GPIO_SPEED_FREQ_VERY_HIGH;
  GPIO_InitStruct.Alternate = GPIO_AF7_USART2;
  HAL_GPIO_Init(GPIOD, &GPIO_InitStruct);

  /*Configure GPIO pins : ARD_D15_Pin ARD_D14_Pin */
  GPIO_InitStruct.Pin = ARD_D15_Pin|ARD_D14_Pin;
  GPIO_InitStruct.Mode = GPIO_MODE_AF_OD;
  GPIO_InitStruct.Pull = GPIO_PULLUP;
  GPIO_InitStruct.Speed = GPIO_SPEED_FREQ_VERY_HIGH;
  GPIO_InitStruct.Alternate = GPIO_AF4_I2C1;
  HAL_GPIO_Init(GPIOB, &GPIO_InitStruct);

  /* EXTI interrupt init*/
  HAL_NVIC_SetPriority(EXTI9_5_IRQn, 0, 0);
  HAL_NVIC_EnableIRQ(EXTI9_5_IRQn);

  HAL_NVIC_SetPriority(EXTI15_10_IRQn, 0, 0);
  HAL_NVIC_EnableIRQ(EXTI15_10_IRQn);

}

/* USER CODE BEGIN 4 */

void temp2str(void)
{
	char temperature[4];
	itoa(BSP_TSENSOR_ReadTemp(),temperature,10);
	strcat(firstRow, "\tt: ");
	strcat(firstRow, temperature);
	strcat(firstRow, "C\n\r");
}

void powerOn(void)
{
	power = 1;
	autoOffcntr = 0;
	HAL_GPIO_WritePin(LED2_GPIO_Port, LED2_Pin, GPIO_PIN_SET);
	strcpy(firstRow, " ");
	strcpy(secondRow, " ");
	HAL_Delay(500);

}

void powerOff(void)
{
	power = 0;
	HAL_GPIO_WritePin(LED2_GPIO_Port, LED2_Pin, GPIO_PIN_RESET);
	HAL_GPIO_WritePin(ARD_D4_GPIO_Port, ARD_D4_Pin, GPIO_PIN_RESET);
	HAL_GPIO_WritePin(ARD_D5_GPIO_Port, ARD_D5_Pin, GPIO_PIN_RESET);
	HAL_GPIO_WritePin(ARD_D6_GPIO_Port, ARD_D6_Pin, GPIO_PIN_RESET);
	HAL_GPIO_WritePin(ARD_D9_GPIO_Port, ARD_D7_Pin, GPIO_PIN_RESET);
	HAL_GPIO_WritePin(ARD_D8_GPIO_Port, ARD_D8_Pin, GPIO_PIN_RESET);
	HAL_GPIO_WritePin(ARD_D9_GPIO_Port, ARD_D9_Pin, GPIO_PIN_RESET);
	HAL_GPIO_WritePin(ARD_D10_GPIO_Port, ARD_D10_Pin, GPIO_PIN_RESET);
	HAL_Delay(200);
}

void addWaterf(void)
{
	for(int i = 0; i < 6; i++)
	{
	  HAL_GPIO_TogglePin(ARD_D4_GPIO_Port, ARD_D4_Pin);
	  HAL_Delay(100);
	}
	strcpy(secondRow, "\n\r  Add Water\n\r");
}

void brewing(void)
{
	char *cube = "■";
	char begin[100];
	char end[100] = "\n\r";
	strcpy(firstRow, "\n\r  Brewing:\n\n\r");
	for(int i = 0; i < 15; i++)
	{
		printf("\e[1;1H\e[2J");
		strcpy(begin, cube);
		strcat(begin, end);
		strcpy(end, begin);
		strcpy(secondRow, end);
		printf(firstRow);
		printf(secondRow);
		HAL_Delay(cupSize*50 + strongBrew*50);
	}
	HAL_GPIO_WritePin(ARD_D9_GPIO_Port, ARD_D7_Pin, GPIO_PIN_RESET);
	HAL_GPIO_WritePin(ARD_D8_GPIO_Port, ARD_D8_Pin, GPIO_PIN_RESET);
	HAL_GPIO_WritePin(ARD_D9_GPIO_Port, ARD_D9_Pin, GPIO_PIN_RESET);
	HAL_GPIO_WritePin(ARD_D10_GPIO_Port, ARD_D10_Pin, GPIO_PIN_RESET);
	strcpy(secondRow, "\n\r  Done. Enjoy your coffee\n\r");
	cupSize = 0;
}

int __io_putchar(int ch)
{
 uint8_t c[1];
 c[0] = ch & 0x00FF;
 HAL_UART_Transmit(&huart1, &*c, 1, 10);
 return ch;
}

int _write(int file,char *ptr, int len)
{
 int DataIdx;
 for(DataIdx= 0; DataIdx< len; DataIdx++)
 {
 __io_putchar(*ptr++);
 }
return len;
}

/* USER CODE END 4 */

void Error_Handler(void)
{
}

/************************ (C) COPYRIGHT STMicroelectronics *****END OF FILE****/
